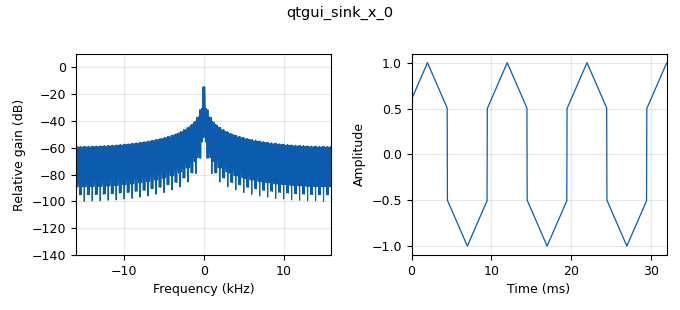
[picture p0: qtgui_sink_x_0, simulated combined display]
<?xml version='1.0' encoding='utf-8'?>
<?grc format='1' created='3.7.9'?>
<flow_graph>
<block>
<key>options</key>
<param><key>id</key><value>top_block</value></param>
<param><key>category</key><value>Custom</value></param>
<param><key>generate_options</key><value>qt_gui</value></param>
</block>
<block>
<key>variable_qtgui_range</key>
<param><key>id</key><value>f</value></param>
<param><key>value</key><value>100</value></param>
<param><key>label</key><value>frequency</value></param>
<param><key>orient</key><value>Qt.Horizontal</value></param>
<param><key>start</key><value>0</value></param>
<param><key>step</key><value>100</value></param>
<param><key>stop</key><value>10000</value></param>
</block>
<block>
<key>variable</key>
<param><key>id</key><value>samp_rate</value></param>
<param><key>value</key><value>32000</value></param>
</block>
<block>
<key>analog_sig_source_x</key>
<param><key>id</key><value>analog_sig_source_x_0_0</value></param>
<param><key>amp</key><value>1</value></param>
<param><key>freq</key><value>f</value></param>
<param><key>offset</key><value>-1</value></param>
<param><key>type</key><value>float</value></param>
<param><key>samp_rate</key><value>samp_rate</value></param>
<param><key>waveform</key><value>analog.GR_TRI_WAVE</value></param>
</block>
<block>
<key>blocks_add_xx</key>
<param><key>id</key><value>blocks_add_xx_0</value></param>
<param><key>type</key><value>float</value></param>
</block>
<block>
<key>blocks_threshold_ff</key>
<param><key>id</key><value>blocks_threshold_ff_0</value></param>
<param><key>high</key><value>-0.5</value></param>
<param><key>init</key><value>-1</value></param>
<param><key>low</key><value>-0.5</value></param>
</block>
<block>
<key>blocks_throttle</key>
<param><key>id</key><value>blocks_throttle_0_0</value></param>
<param><key>samples_per_second</key><value>samp_rate</value></param>
<param><key>type</key><value>float</value></param>
</block>
<block>
<key>qtgui_sink_x</key>
<param><key>id</key><value>qtgui_sink_x_0</value></param>
<param><key>bw</key><value>samp_rate</value></param>
<param><key>fc</key><value>0</value></param>
<param><key>freqchangevar</key><value>None</value></param>
<param><key>fftsize</key><value>1024</value></param>
<param><key>showports</key><value>True</value></param>
<param><key>type</key><value>float</value></param>
<param><key>wintype</key><value>firdes.WIN_BLACKMAN_hARRIS</value></param>
</block>
<connection><source_block_id>analog_sig_source_x_0_0</source_block_id><sink_block_id>blocks_add_xx_0</sink_block_id><source_key>0</source_key><sink_key>1</sink_key></connection>
<connection><source_block_id>analog_sig_source_x_0_0</source_block_id><sink_block_id>blocks_threshold_ff_0</sink_block_id><source_key>0</source_key><sink_key>0</sink_key></connection>
<connection><source_block_id>blocks_add_xx_0</source_block_id><sink_block_id>blocks_throttle_0_0</sink_block_id><source_key>0</source_key><sink_key>0</sink_key></connection>
<connection><source_block_id>blocks_threshold_ff_0</source_block_id><sink_block_id>blocks_add_xx_0</sink_block_id><source_key>0</source_key><sink_key>0</sink_key></connection>
<connection><source_block_id>blocks_throttle_0_0</source_block_id><sink_block_id>qtgui_sink_x_0</sink_block_id><source_key>0</source_key><sink_key>0</sink_key></connection>
</flow_graph>
